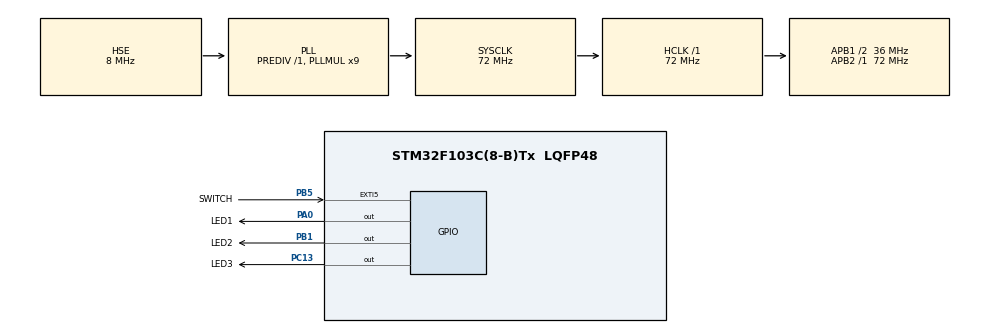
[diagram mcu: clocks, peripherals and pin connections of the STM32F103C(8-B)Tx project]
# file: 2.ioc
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Mcu.Family=STM32F1
Mcu.Name=STM32F103C(8-B)Tx
Mcu.Package=LQFP48
NVIC.EXTI9_5_IRQn=true\:1\:0\:true\:false\:true\:true\:true
NVIC.PriorityGroup=NVIC_PRIORITYGROUP_4
PA0-WKUP.GPIO_Label=LED1
PA0-WKUP.PinState=GPIO_PIN_SET
PA0-WKUP.Signal=GPIO_Output
PA13.Mode=Serial_Wire
PA13.Signal=SYS_JTMS-SWDIO
PA14.Mode=Serial_Wire
PA14.Signal=SYS_JTCK-SWCLK
PB1.GPIO_Label=LED2
PB1.PinState=GPIO_PIN_SET
PB1.Signal=GPIO_Output
PB5.GPIO_Label=SWITCH
PB5.GPIO_ModeDefaultEXTI=GPIO_MODE_IT_FALLING
PB5.GPIO_PuPd=GPIO_PULLDOWN
PB5.Signal=GPXTI5
PC13-TAMPER-RTC.GPIO_Label=LED3
PC13-TAMPER-RTC.PinState=GPIO_PIN_SET
PC13-TAMPER-RTC.Signal=GPIO_Output
PC14-OSC32_IN.Mode=LSE-External-Oscillator
PC14-OSC32_IN.Signal=RCC_OSC32_IN
PC15-OSC32_OUT.Mode=LSE-External-Oscillator
PC15-OSC32_OUT.Signal=RCC_OSC32_OUT
PD0-OSC_IN.Mode=HSE-External-Oscillator
PD0-OSC_IN.Signal=RCC_OSC_IN
PD1-OSC_OUT.Mode=HSE-External-Oscillator
PD1-OSC_OUT.Signal=RCC_OSC_OUT
ProjectManager.HeapSize=0x200
ProjectManager.StackSize=0x400
ProjectManager.TargetToolchain=MDK-ARM V5.32
RCC.AHBFreq_Value=72000000
RCC.APB1CLKDivider=RCC_HCLK_DIV2
RCC.APB1Freq_Value=36000000
RCC.APB1TimFreq_Value=72000000
RCC.APB2Freq_Value=72000000
RCC.APB2TimFreq_Value=72000000
RCC.HCLKFreq_Value=72000000
RCC.PLLMUL=RCC_PLL_MUL9
RCC.PLLSourceVirtual=RCC_PLLSOURCE_HSE
RCC.SYSCLKFreq_VALUE=72000000
RCC.SYSCLKSource=RCC_SYSCLKSOURCE_PLLCLK
RCC.USBFreq_Value=72000000
board=custom

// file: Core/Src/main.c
/* USER CODE BEGIN Header */
/**
  ******************************************************************************
  * @file           : main.c
  * @brief          : Main program body
  ******************************************************************************
  * @attention
  *
  * <h2><center>&copy; Copyright (c) 2025 STMicroelectronics.
  * All rights reserved.</center></h2>
  *
  * This software component is licensed by ST under BSD 3-Clause license,
  * the "License"; You may not use this file except in compliance with the
  * License. You may obtain a copy of the License at:
  *                        opensource.org/licenses/BSD-3-Clause
  *
  ******************************************************************************
  */
/* USER CODE END Header */
#include "main.h"
#include "gpio.h"

void SystemClock_Config(void);

/* USER CODE BEGIN 0 */
uint32_t flag=0;//?????????
void HAL_GPIO_EXTI_Callback(uint16_t GPIO_Pin)
{
  if(GPIO_Pin == SWITCH_Pin)
	{
      //??A3???
     GPIO_PinState pinState = HAL_GPIO_ReadPin(SWITCH_GPIO_Port,SWITCH_Pin);

      //???
      if(pinState==GPIO_PIN_SET)//PA3???????
      {
		  flag=1;//PA3?????
	  }
      //???
      else if(pinState==GPIO_PIN_RESET)//PA3???????
	  {
		  flag=0;//PA3?????
	  }
    }
}

/* USER CODE END 0 */

int main(void)
{

  /* MCU Configuration--------------------------------------------------------*/

  /* Reset of all peripherals, Initializes the Flash interface and the Systick. */
  HAL_Init();

  /* Configure the system clock */
  SystemClock_Config();

  /* Initialize all configured peripherals */
  MX_GPIO_Init();

  /* Infinite loop */
  /* USER CODE BEGIN WHILE */
while (1){
if(flag==1)
  {
          HAL_GPIO_WritePin(LED1_GPIO_Port,LED1_Pin,GPIO_PIN_RESET);//PA1??
          HAL_GPIO_WritePin(LED2_GPIO_Port,LED2_Pin,GPIO_PIN_SET);//PB1??
          HAL_GPIO_WritePin(LED3_GPIO_Port,LED3_Pin,GPIO_PIN_SET);//PC14??
          HAL_Delay(1000);//??1s
          HAL_GPIO_WritePin(LED1_GPIO_Port,LED1_Pin,GPIO_PIN_SET);//PA1??
          HAL_GPIO_WritePin(LED2_GPIO_Port,LED2_Pin,GPIO_PIN_RESET);//PB1??
          HAL_GPIO_WritePin(LED3_GPIO_Port,LED3_Pin,GPIO_PIN_SET);//PC14??
          HAL_Delay(1000);//??1s
          HAL_GPIO_WritePin(LED1_GPIO_Port,LED1_Pin,GPIO_PIN_SET);//PA1??
          HAL_GPIO_WritePin(LED2_GPIO_Port,LED2_Pin,GPIO_PIN_SET);//PB1??
          HAL_GPIO_WritePin(LED3_GPIO_Port,LED3_Pin,GPIO_PIN_RESET);//PC14??
          HAL_Delay(1000);//??1s
    }
    else if(flag==0)
    {
        HAL_GPIO_WritePin(LED1_GPIO_Port,LED1_Pin,GPIO_PIN_SET);
        HAL_GPIO_WritePin(LED2_GPIO_Port,LED2_Pin,GPIO_PIN_SET);
        HAL_GPIO_WritePin(LED3_GPIO_Port,LED3_Pin,GPIO_PIN_SET);
		}
    /* USER CODE END WHILE */

}
}
void SystemClock_Config(void)
{
  RCC_OscInitTypeDef RCC_OscInitStruct = {0};
  RCC_ClkInitTypeDef RCC_ClkInitStruct = {0};

  /** Initializes the RCC Oscillators according to the specified parameters
  * in the RCC_OscInitTypeDef structure.
  */
  RCC_OscInitStruct.OscillatorType = RCC_OSCILLATORTYPE_HSE;
  RCC_OscInitStruct.HSEState = RCC_HSE_ON;
  RCC_OscInitStruct.HSEPredivValue = RCC_HSE_PREDIV_DIV1;
  RCC_OscInitStruct.HSIState = RCC_HSI_ON;
  RCC_OscInitStruct.PLL.PLLState = RCC_PLL_ON;
  RCC_OscInitStruct.PLL.PLLSource = RCC_PLLSOURCE_HSE;
  RCC_OscInitStruct.PLL.PLLMUL = RCC_PLL_MUL9;
  if (HAL_RCC_OscConfig(&RCC_OscInitStruct) != HAL_OK)
  {
    Error_Handler();
  }
  /** Initializes the CPU, AHB and APB buses clocks
  */
  RCC_ClkInitStruct.ClockType = RCC_CLOCKTYPE_HCLK|RCC_CLOCKTYPE_SYSCLK
                              |RCC_CLOCKTYPE_PCLK1|RCC_CLOCKTYPE_PCLK2;
  RCC_ClkInitStruct.SYSCLKSource = RCC_SYSCLKSOURCE_PLLCLK;
  RCC_ClkInitStruct.AHBCLKDivider = RCC_SYSCLK_DIV1;
  RCC_ClkInitStruct.APB1CLKDivider = RCC_HCLK_DIV2;
  RCC_ClkInitStruct.APB2CLKDivider = RCC_HCLK_DIV1;

  if (HAL_RCC_ClockConfig(&RCC_ClkInitStruct, FLASH_LATENCY_2) != HAL_OK)
  {
    Error_Handler();
  }
}

void Error_Handler(void)
{
  __disable_irq();
  while (1)
  {
  }
}

/************************ (C) COPYRIGHT STMicroelectronics *****END OF FILE****/
